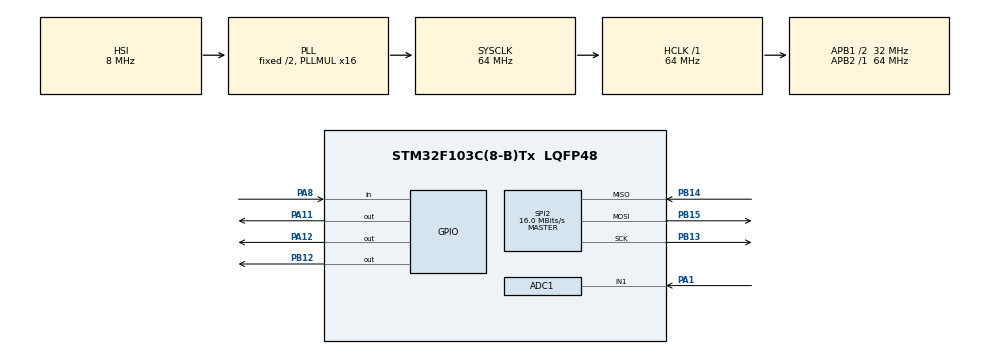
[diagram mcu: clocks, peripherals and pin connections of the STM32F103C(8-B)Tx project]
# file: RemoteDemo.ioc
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ADC1.Channel-0\#ChannelRegularConversion=ADC_CHANNEL_1
ADC1.NbrOfConversionFlag=1
ADC1.Rank-0\#ChannelRegularConversion=1
ADC1.SamplingTime-0\#ChannelRegularConversion=ADC_SAMPLETIME_1CYCLE_5
ADC1.master=1
Mcu.Family=STM32F1
Mcu.Name=STM32F103C(8-B)Tx
Mcu.Package=LQFP48
NVIC.PriorityGroup=NVIC_PRIORITYGROUP_4
PA1.Signal=ADCx_IN1
PA11.Signal=GPIO_Output
PA12.Signal=GPIO_Output
PA13.Mode=Serial_Wire
PA13.Signal=SYS_JTMS-SWDIO
PA14.Mode=Serial_Wire
PA14.Signal=SYS_JTCK-SWCLK
PA8.Signal=GPIO_Input
PB12.Signal=GPIO_Output
PB13.Mode=Full_Duplex_Master
PB13.Signal=SPI2_SCK
PB14.Mode=Full_Duplex_Master
PB14.Signal=SPI2_MISO
PB15.Mode=Full_Duplex_Master
PB15.Signal=SPI2_MOSI
ProjectManager.HeapSize=0x200
ProjectManager.StackSize=0x400
ProjectManager.TargetToolchain=MDK-ARM V5.32
RCC.ADCPresc=RCC_ADCPCLK2_DIV6
RCC.AHBFreq_Value=64000000
RCC.APB1CLKDivider=RCC_HCLK_DIV2
RCC.APB1Freq_Value=32000000
RCC.APB1TimFreq_Value=64000000
RCC.APB2Freq_Value=64000000
RCC.APB2TimFreq_Value=64000000
RCC.HCLKFreq_Value=64000000
RCC.PLLMUL=RCC_PLL_MUL16
RCC.SYSCLKFreq_VALUE=64000000
RCC.SYSCLKSource=RCC_SYSCLKSOURCE_PLLCLK
RCC.USBFreq_Value=64000000
SH.ADCx_IN1.0=ADC1_IN1,IN1
SPI2.CalculateBaudRate=16.0 MBits/s
SPI2.Direction=SPI_DIRECTION_2LINES
SPI2.Mode=SPI_MODE_MASTER
SPI2.VirtualType=VM_MASTER
board=custom

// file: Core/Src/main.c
/* USER CODE BEGIN Header */
/**
  ******************************************************************************
  * @file           : main.c
  * @brief          : Main program body
  ******************************************************************************
  * @attention
  *
  * Copyright (c) 2026 STMicroelectronics.
  * All rights reserved.
  *
  * This software is licensed under terms that can be found in the LICENSE file
  * in the root directory of this software component.
  * If no LICENSE file comes with this software, it is provided AS-IS.
  *
  ******************************************************************************
  */
/* USER CODE END Header */
#include "main.h"
#include "adc.h"
#include "spi.h"
#include "gpio.h"

/* USER CODE BEGIN Includes */
#include "nrf24l01.h"
#include "tran.h"
/* USER CODE END Includes */

/* USER CODE BEGIN PV */
uint8_t send_result = 0;
/* USER CODE END PV */

void SystemClock_Config(void);

/* USER CODE BEGIN 0 */
#define BEEP_ON()   HAL_GPIO_WritePin(GPIOA, GPIO_PIN_12, GPIO_PIN_SET)
#define BEEP_OFF()  HAL_GPIO_WritePin(GPIOA, GPIO_PIN_12, GPIO_PIN_RESET)
#define BEEP_TOGGLE() HAL_GPIO_TogglePin(GPIOA, GPIO_PIN_12)
/* USER CODE END 0 */

int main(void)
{

  /* MCU Configuration--------------------------------------------------------*/

  /* Reset of all peripherals, Initializes the Flash interface and the Systick. */
  HAL_Init();

  /* Configure the system clock */
  SystemClock_Config();

  /* Initialize all configured peripherals */
  MX_GPIO_Init();
  MX_ADC1_Init();
  MX_SPI2_Init();
  /* USER CODE BEGIN 2 */

	if (NRF_Init() == 1) {
    Tran_Init();                // ???????
    // ????????????
    BEEP_ON(); HAL_Delay(100); BEEP_OFF();
} else {
    // ?????:?????????
    while (1) {
        BEEP_ON(); HAL_Delay(100); BEEP_OFF(); HAL_Delay(100);
    }
}
HAL_Delay(1000);
//	Tran_SendThrottle();
//		uint8_t ret = Tran_SendThrottle();
//if (ret == 1) {

//    HAL_GPIO_WritePin(GPIOA, GPIO_PIN_12, GPIO_PIN_SET);// ???????
//} else if (ret == 2) {
//    HAL_GPIO_TogglePin(GPIOA, GPIO_PIN_12);
//		HAL_Delay(1000);
//} else {
//    HAL_GPIO_WritePin(GPIOA, GPIO_PIN_12, GPIO_PIN_SET);
//	HAL_Delay(1000);
//	HAL_GPIO_WritePin(GPIOA, GPIO_PIN_12, GPIO_PIN_RESET);
//		HAL_Delay(1000);
//	    HAL_GPIO_WritePin(GPIOA, GPIO_PIN_12, GPIO_PIN_SET);}
  // ???nRF24L01??
//  if(NRF_Init() == 1) {
//		      BEEP_ON();
//          HAL_Delay(200);
//          BEEP_OFF();
//  } else {

//		      BEEP_ON();
//          HAL_Delay(200);
//          BEEP_OFF();
//					HAL_Delay(200);
//				  BEEP_ON();
//          HAL_Delay(200);
//          BEEP_OFF();
//      }
//
  /* USER CODE END 2 */

  /* Infinite loop */
  /* USER CODE BEGIN WHILE */
  while (1)
  {

    uint8_t ret = Tran_SendThrottle();
    static uint32_t last_beep = 0;
    static uint32_t success_cnt = 0;

    if (ret == 1) {
        success_cnt++;
        if (success_cnt >= 10) {  // ?10???(?10?)????
            BEEP_ON(); HAL_Delay(100); BEEP_OFF();
            success_cnt = 0;
        }
    } else {
        // ?????????
        BEEP_ON(); HAL_Delay(30); BEEP_OFF(); HAL_Delay(30);
        BEEP_ON(); HAL_Delay(30); BEEP_OFF();
//        BEEP_ON(); HAL_Delay(500); BEEP_OFF(); HAL_Delay(500);
//        BEEP_ON(); HAL_Delay(500); BEEP_OFF();
    }
    HAL_Delay(1000);

/*		uint8_t send_result = Tran_SendThrottle();  // ??Tran_SendThrottle????NRF_SendData

      if(send_result == 1) {          // ????
          BEEP_ON();
          HAL_Delay(500);
          BEEP_OFF();
      } else if(send_result == 2) {
          BEEP_ON();
          HAL_Delay(500);
          BEEP_OFF();
				  HAL_Delay(500);
				  BEEP_ON();
          HAL_Delay(500);
          BEEP_OFF();
      } else {
          BEEP_ON();
          HAL_Delay(500);
          BEEP_OFF();
				  HAL_Delay(500);
				  BEEP_ON();
          HAL_Delay(500);
          BEEP_OFF();
				  HAL_Delay(500);
				  BEEP_ON();
          HAL_Delay(500);
          BEEP_OFF();

      }
	*/
      // ??????,????(??????,?20Hz -> 50ms)

    /* USER CODE END WHILE */

  }
}

void SystemClock_Config(void)
{
  RCC_OscInitTypeDef RCC_OscInitStruct = {0};
  RCC_ClkInitTypeDef RCC_ClkInitStruct = {0};
  RCC_PeriphCLKInitTypeDef PeriphClkInit = {0};

  /** Initializes the RCC Oscillators according to the specified parameters
  * in the RCC_OscInitTypeDef structure.
  */
  RCC_OscInitStruct.OscillatorType = RCC_OSCILLATORTYPE_HSI;
  RCC_OscInitStruct.HSIState = RCC_HSI_ON;
  RCC_OscInitStruct.HSICalibrationValue = RCC_HSICALIBRATION_DEFAULT;
  RCC_OscInitStruct.PLL.PLLState = RCC_PLL_ON;
  RCC_OscInitStruct.PLL.PLLSource = RCC_PLLSOURCE_HSI_DIV2;
  RCC_OscInitStruct.PLL.PLLMUL = RCC_PLL_MUL16;
  if (HAL_RCC_OscConfig(&RCC_OscInitStruct) != HAL_OK)
  {
    Error_Handler();
  }

  /** Initializes the CPU, AHB and APB buses clocks
  */
  RCC_ClkInitStruct.ClockType = RCC_CLOCKTYPE_HCLK|RCC_CLOCKTYPE_SYSCLK
                              |RCC_CLOCKTYPE_PCLK1|RCC_CLOCKTYPE_PCLK2;
  RCC_ClkInitStruct.SYSCLKSource = RCC_SYSCLKSOURCE_PLLCLK;
  RCC_ClkInitStruct.AHBCLKDivider = RCC_SYSCLK_DIV1;
  RCC_ClkInitStruct.APB1CLKDivider = RCC_HCLK_DIV2;
  RCC_ClkInitStruct.APB2CLKDivider = RCC_HCLK_DIV1;

  if (HAL_RCC_ClockConfig(&RCC_ClkInitStruct, FLASH_LATENCY_2) != HAL_OK)
  {
    Error_Handler();
  }
  PeriphClkInit.PeriphClockSelection = RCC_PERIPHCLK_ADC;
  PeriphClkInit.AdcClockSelection = RCC_ADCPCLK2_DIV6;
  if (HAL_RCCEx_PeriphCLKConfig(&PeriphClkInit) != HAL_OK)
  {
    Error_Handler();
  }
}

void Error_Handler(void)
{
  __disable_irq();
  while (1)
  {
  }
}
